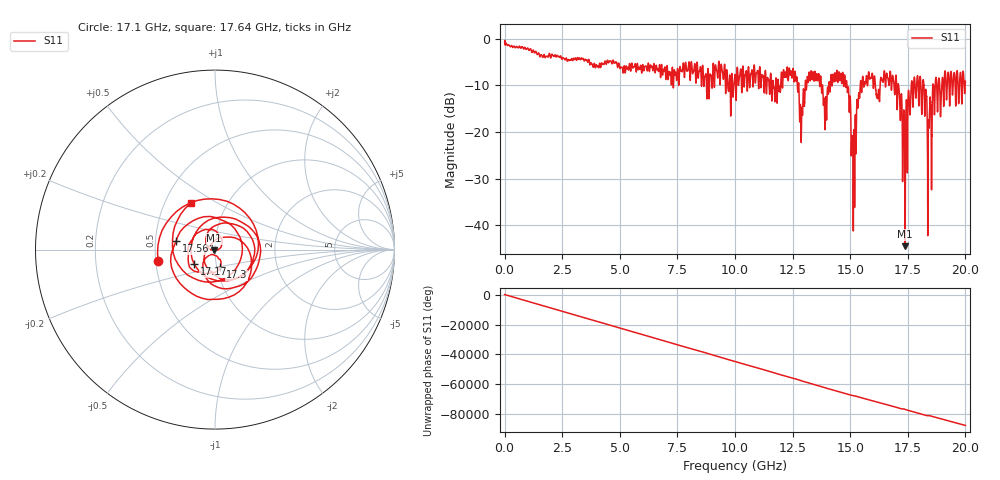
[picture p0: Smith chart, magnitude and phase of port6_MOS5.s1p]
! MS46122B
! 2250307/22442219
! 6/13/2025 3:31:57 PM
! C:\USERS\SPARKY\DOCUMENTS\VNA_DATA\JUNE13_2025\3.2K\PORT6_MOS5.S1P
! CHANNEL.1
! TR.MEASUREMENT
! RAW.DATA
# GHZ S RI R 50.0
! FREQ.GHZ  S11RE  S11IM
!; PortSelection: Port_1
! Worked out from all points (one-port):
!   10001 points, 1 MHz to 20 GHz, reference 50 ohm
!   lowest |S11| = -44.5 dB at 17.39 GHz (marker M1), VSWR 1.01, Z = 49.5 - j0.309 ohm
!   |S11| at or under -10 dB: 14.86 GHz to 15.44 GHz (576.3 MHz wide, 3.8 % of centre); 17.1 GHz to 17.65 GHz (547.7 MHz wide, 3.15 % of centre); 18.2 GHz to 18.59 GHz (383.6 MHz wide, 2.09 % of centre) (the widest 3 of 64)
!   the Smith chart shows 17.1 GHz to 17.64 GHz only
!   S11 on the Smith chart (normalised r, x): 17.1 GHz: 0.52, -0.07; 17.17 GHz: 0.78, -0.13; 17.3 GHz: 1.04, -0.21; 17.56 GHz: 0.64, +0.06; 17.64 GHz: 0.68, +0.38
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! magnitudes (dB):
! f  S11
! 1 MHz  -0.7
! 2.501 GHz  -4.2
! 5.001 GHz  -6.3
! 7.501 GHz  -6.5
! 10 GHz  -7.6
! 12.5 GHz  -6.9
! 12.88 GHz  -20.9
! 13.23 GHz  -7.3
! 13.64 GHz  -7.6
! 13.91 GHz  -18.1
! 14.59 GHz  -7.4
! 14.84 GHz  -9.0
! 15 GHz  -12.3
! 15.13 GHz  -37.8
! 15.38 GHz  -11.6
! 15.62 GHz  -9.3
! 16.66 GHz  -9.2
! 17.1 GHz  -9.8
! 17.17 GHz  -17.0
! 17.3 GHz  -19.8
! 17.39 GHz  -44.5
! 17.5 GHz  -15.6
! 17.56 GHz  -13.1
! 17.64 GHz  -10.7
! 18.23 GHz  -16.2
! 18.45 GHz  -14.9
! 18.67 GHz  -14.6
! 20 GHz  -9.1
